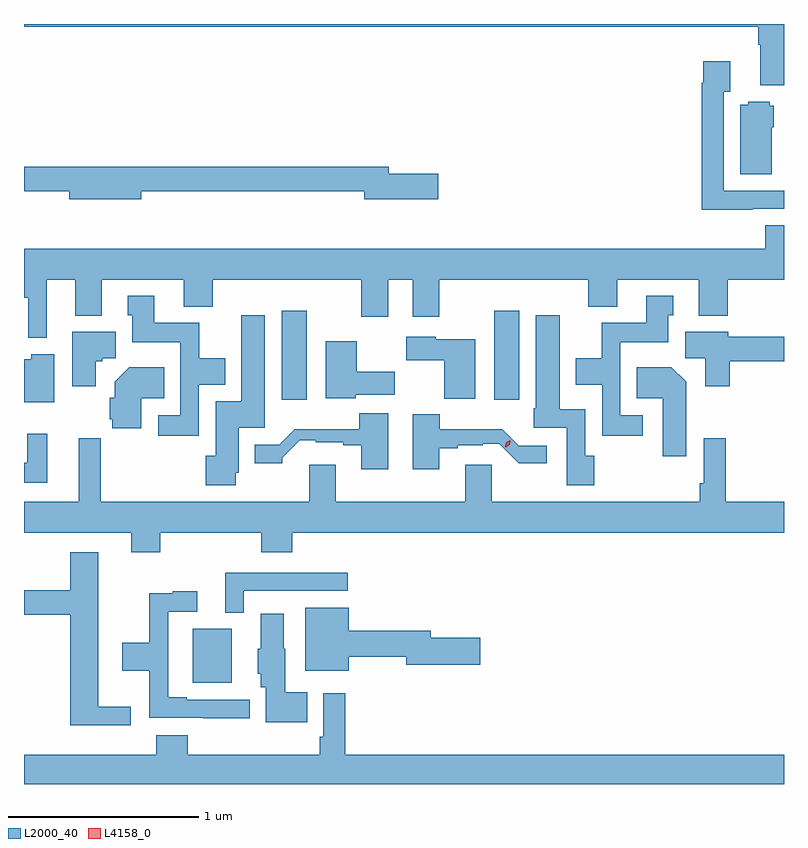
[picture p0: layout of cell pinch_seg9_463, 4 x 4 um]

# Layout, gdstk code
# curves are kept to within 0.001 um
import gdstk
lib = gdstk.Library(unit=1e-6, precision=1e-09)
def R(c, l, rs):  # rectangles x0, y0, x1, y1
    for r in rs: c.add(gdstk.rectangle(r[:2], r[2:], *l))
def P(c, l, *ps):  # polygons
    for p in ps: c.add(gdstk.Polygon(p, *l))
L2000_40 = (2000, 40)
L4158_0 = (4158, 0)

pinch_seg9_463 = lib.new_cell('pinch_seg9_463')
R(pinch_seg9_463, L2000_40, [(377.339,1200.959,377.545,1201.243), (377.807,1202.448,377.938,1202.917), (378.926,1202.448,379.057,1202.917)])
P(pinch_seg9_463, L2000_40, [(380.451,1204.426),(376.451,1204.426),(376.451,1204.412),(380.315,1204.412),(380.315,1204.316),(380.327,1204.316),(380.327,1204.103),(380.451,1204.103)],
  [(380.287,1203.453),(380.451,1203.453),(380.451,1203.549),(380.133,1203.549),(380.133,1204.07),(380.167,1204.07),(380.167,1204.231),(380.025,1204.231),(380.025,1204.118),(380.017,1204.118),(380.017,1203.449),(380.287,1203.449)],
  [(380.386,1203.882),(380.398,1203.882),(380.398,1203.996),(380.376,1203.996),(380.376,1204.018),(380.262,1204.018),(380.262,1204),(380.222,1204),(380.222,1203.634),(380.386,1203.634)],
  [(377.068,1203.546),(378.242,1203.546),(378.242,1203.503),(378.631,1203.503),(378.631,1203.638),(378.37,1203.638),(378.37,1203.674),(376.451,1203.674),(376.451,1203.546),(376.688,1203.546),(376.688,1203.503),(377.068,1203.503)],
  [(376.57,1203.08),(376.721,1203.08),(376.721,1202.891),(376.861,1202.891),(376.861,1203.08),(377.291,1203.08),(377.291,1202.939),(377.444,1202.939),(377.444,1203.08),(378.227,1203.08),(378.227,1202.886),(378.367,1202.886),(378.367,1203.08),(378.497,1203.08),(378.497,1202.886),(378.637,1202.886),(378.637,1203.08),(379.421,1203.08),(379.421,1202.939),(379.573,1202.939),(379.573,1203.08),(380.003,1203.08),(380.003,1202.891),(380.156,1202.891),(380.156,1203.08),(380.451,1203.08),(380.451,1203.368),(380.351,1203.368),(380.351,1203.244),(376.451,1203.244),(376.451,1203.08),(376.453,1203.08),(376.453,1202.984),(376.473,1202.984),(376.473,1202.774),(376.57,1202.774)],
  [(377.37,1202.528),(377.509,1202.528),(377.509,1202.668),(377.373,1202.668),(377.373,1202.854),(377.137,1202.854),(377.137,1202.995),(376.997,1202.995),(376.997,1202.892),(377.021,1202.892),(377.021,1202.75),(377.274,1202.75),(377.274,1202.367),(377.157,1202.367),(377.157,1202.259),(377.37,1202.259)],
  [(379.708,1202.367),(379.59,1202.367),(379.59,1202.75),(379.843,1202.75),(379.843,1202.892),(379.867,1202.892),(379.867,1202.995),(379.727,1202.995),(379.727,1202.854),(379.492,1202.854),(379.492,1202.668),(379.355,1202.668),(379.355,1202.528),(379.494,1202.528),(379.494,1202.259),(379.708,1202.259)],
  [(377.565,1202.064),(377.581,1202.064),(377.581,1202.3),(377.719,1202.3),(377.719,1202.893),(377.594,1202.893),(377.594,1202.44),(377.459,1202.44),(377.459,1202.154),(377.408,1202.154),(377.408,1201.998),(377.565,1201.998)],
  [(379.452,1202.154),(379.404,1202.154),(379.404,1202.398),(379.27,1202.398),(379.27,1202.893),(379.145,1202.893),(379.145,1202.404),(379.133,1202.404),(379.133,1202.301),(379.308,1202.301),(379.308,1201.998),(379.452,1201.998)],
  [(376.828,1202.65),(376.863,1202.65),(376.863,1202.668),(376.933,1202.668),(376.933,1202.806),(376.706,1202.806),(376.706,1202.52),(376.828,1202.52)],
  [(380.166,1202.65),(380.451,1202.65),(380.451,1202.779),(380.158,1202.779),(380.158,1202.806),(379.931,1202.806),(379.931,1202.668),(380.036,1202.668),(380.036,1202.52),(380.166,1202.52)],
  [(378.826,1202.767),(378.618,1202.767),(378.618,1202.779),(378.462,1202.779),(378.462,1202.657),(378.664,1202.657),(378.664,1202.453),(378.826,1202.453)],
  [(378.198,1202.474),(378.402,1202.474),(378.402,1202.596),(378.202,1202.596),(378.202,1202.755),(378.038,1202.755),(378.038,1202.456),(378.198,1202.456)],
  [(376.609,1202.689),(376.488,1202.689),(376.488,1202.662),(376.451,1202.662),(376.451,1202.435),(376.609,1202.435)],
  [(379.936,1202.542),(379.858,1202.62),(379.675,1202.62),(379.675,1202.456),(379.814,1202.456),(379.814,1202.151),(379.936,1202.151)],
  [(377.068,1202.456),(377.189,1202.456),(377.189,1202.62),(377.006,1202.62),(376.928,1202.542),(376.928,1202.46),(376.903,1202.46),(376.903,1202.346),(376.916,1202.346),(376.916,1202.299),(377.068,1202.299)],
  [(378.367,1202.377),(378.215,1202.377),(378.215,1202.293),(377.877,1202.293),(377.795,1202.211),(377.666,1202.211),(377.666,1202.114),(377.811,1202.114),(377.811,1202.142),(377.903,1202.234),(377.986,1202.234),(377.986,1202.226),(378.131,1202.226),(378.131,1202.208),(378.227,1202.208),(378.227,1202.082),(378.367,1202.082)],
  [(378.637,1202.192),(378.733,1202.192),(378.733,1202.21),(378.865,1202.21),(378.865,1202.218),(378.953,1202.218),(379.056,1202.114),(379.201,1202.114),(379.201,1202.205),(379.056,1202.205),(378.968,1202.293),(378.64,1202.293),(378.64,1202.371),(378.497,1202.371),(378.497,1202.082),(378.637,1202.082)],
  [(376.573,1202.269),(376.469,1202.269),(376.469,1202.116),(376.451,1202.116),(376.451,1202.012),(376.573,1202.012)],
  [(377.168,1201.748),(377.699,1201.748),(377.699,1201.646),(377.864,1201.646),(377.864,1201.748),(380.451,1201.748),(380.451,1201.912),(380.144,1201.912),(380.144,1202.245),(380.028,1202.245),(380.028,1202.008),(380.008,1202.008),(380.008,1201.912),(378.912,1201.912),(378.912,1202.107),(378.773,1202.107),(378.773,1201.912),(378.091,1201.912),(378.091,1202.107),(377.951,1202.107),(377.951,1201.912),(376.856,1201.912),(376.856,1202.245),(376.739,1202.245),(376.739,1201.912),(376.451,1201.912),(376.451,1201.748),(377.015,1201.748),(377.015,1201.646),(377.168,1201.646)],
  [(377.014,1200.833),(376.843,1200.833),(376.843,1201.645),(376.694,1201.645),(376.694,1201.447),(376.451,1201.447),(376.451,1201.318),(376.694,1201.318),(376.694,1200.734),(377.014,1200.734)],
  [(377.607,1201.443),(378.154,1201.443),(378.154,1201.539),(377.51,1201.539),(377.51,1201.328),(377.607,1201.328)],
  [(377.638,1200.87),(377.308,1200.87),(377.308,1200.883),(377.211,1200.883),(377.211,1201.332),(377.362,1201.332),(377.362,1201.441),(377.234,1201.441),(377.234,1201.43),(377.11,1201.43),(377.11,1201.17),(376.968,1201.17),(376.968,1201.022),(377.11,1201.022),(377.11,1200.774),(377.395,1200.774),(377.395,1200.773),(377.638,1200.773)],
  [(378.16,1201.096),(378.464,1201.096),(378.464,1201.054),(378.853,1201.054),(378.853,1201.196),(378.592,1201.196),(378.592,1201.232),(378.16,1201.232),(378.16,1201.354),(377.93,1201.354),(377.93,1201.022),(378.16,1201.022)],
  [(377.942,1200.91),(377.827,1200.91),(377.827,1201.137),(377.818,1201.137),(377.818,1201.321),(377.696,1201.321),(377.696,1201.137),(377.681,1201.137),(377.681,1201.005),(377.696,1201.005),(377.696,1200.936),(377.723,1200.936),(377.723,1200.752),(377.942,1200.752)],
  [(380.451,1200.58),(378.143,1200.58),(378.143,1200.904),(378.027,1200.904),(378.027,1200.676),(378.007,1200.676),(378.007,1200.58),(377.312,1200.58),(377.312,1200.682),(377.147,1200.682),(377.147,1200.58),(376.451,1200.58),(376.451,1200.426),(380.451,1200.426)])
P(pinch_seg9_463, L4158_0, [(378.985,1202.199),(378.985,1202.2),(378.99,1202.224),(379.011,1202.236),(379.011,1202.236),(379.011,1202.236),(379.007,1202.212),(378.986,1202.199)])

lib.write_gds('pinch_seg9_463.gds')
